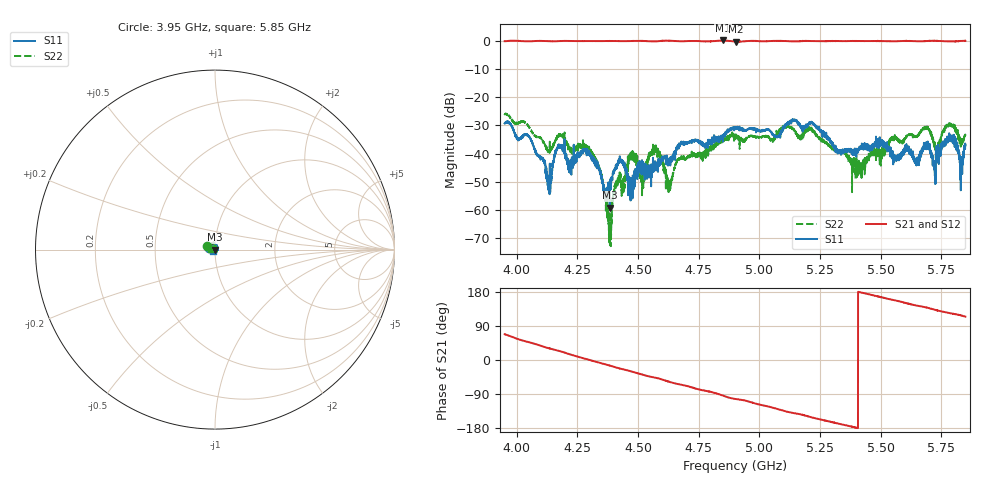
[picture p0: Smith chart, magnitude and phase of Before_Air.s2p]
# GHZ S RI R 50.000000000000
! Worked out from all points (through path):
!   4501 points, 3.95 GHz to 5.85 GHz, reference 50 ohm
!   highest |S21| = 0.11 dB at 4.851 GHz (marker M1); lowest = -0.3 dB at 4.904 GHz (marker M2)
!   group delay of S21, straight-line fit = 452 ps
!   lowest |S11| = -59.1 dB at 4.383 GHz (marker M3), VSWR 1.00, Z = 50 - j0.105 ohm
!   |S11| at or under -10 dB: start of sweep to end of sweep
!   |S22| runs from -72.8 to -25.8 dB; largest |S21 - S12| = 0.048
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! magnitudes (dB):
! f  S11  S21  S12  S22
! 3.95 GHz  -29.2  -0.1  -0.2  -26.3
! 4.051 GHz  -34.1  -0.2  -0.1  -30.7
! 4.134 GHz  -53.4  -0.1  -0.1  -39.4
! 4.172 GHz  -37.6  -0.1  -0.1  -33.8
! 4.267 GHz  -39.4  -0.1  -0.1  -37.1
! 4.338 GHz  -44.8  -0.1  -0.1  -44.0
! 4.383 GHz  -59.1  0.0  0.0  -58.7
! 4.426 GHz  -42.5  -0.1  -0.2  -48.8
! 4.469 GHz  -56.6  -0.1  -0.1  -41.3
! 4.523 GHz  -44.7  -0.1  -0.1  -48.9
! 4.584 GHz  -44.2  -0.1  -0.2  -38.9
! 4.631 GHz  -42.7  0.0  0.0  -50.9
! 4.671 GHz  -37.2  -0.2  -0.1  -42.2
! 4.851 GHz  -35.8  0.1  0.1  -34.2
! 4.9 GHz  -30.6  -0.2  -0.2  -34.2
! 4.904 GHz  -31.2  -0.3  -0.2  -33.1
! 5.217 GHz  -29.1  -0.1  -0.1  -31.7
! 5.412 GHz  -38.0  -0.1  -0.1  -43.2
! 5.534 GHz  -38.4  -0.1  -0.1  -36.7
! 5.719 GHz  -42.7  0.0  0.0  -35.7
! 5.781 GHz  -34.7  -0.2  -0.3  -29.9
! 5.85 GHz  -37.0  0.0  0.0  -33.6
